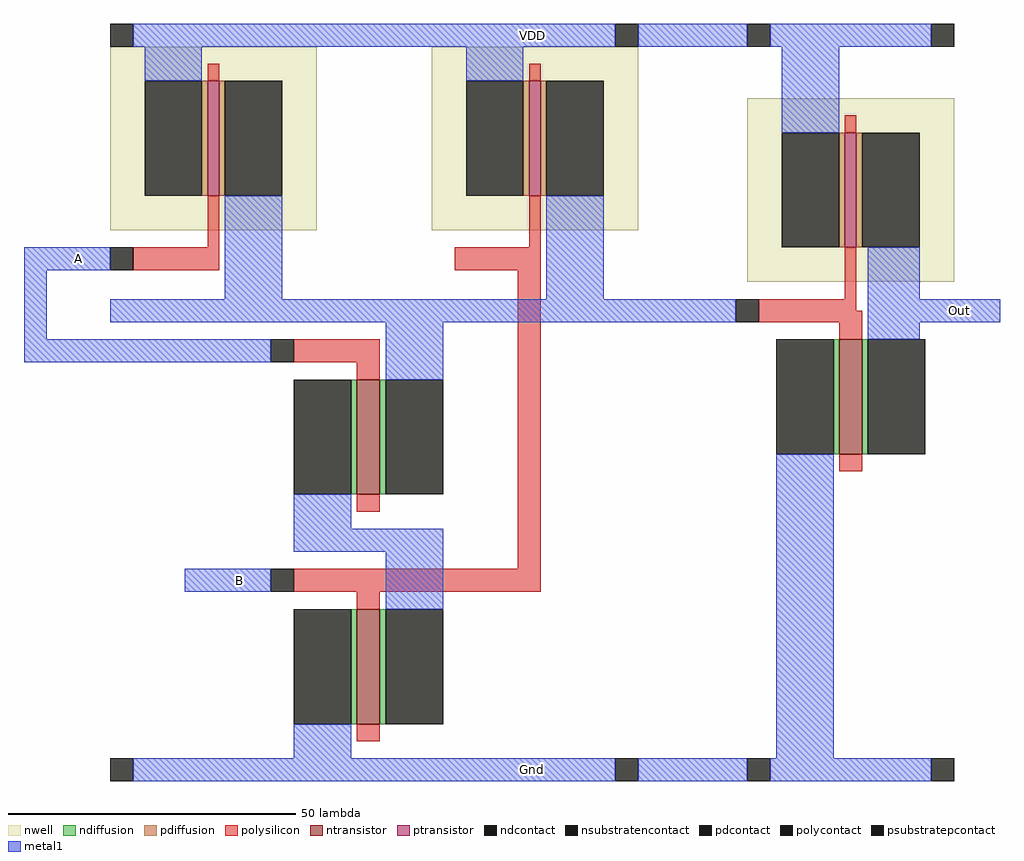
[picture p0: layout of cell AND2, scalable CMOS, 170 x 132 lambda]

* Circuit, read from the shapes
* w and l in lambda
.subckt AND2 A B Gnd Out VDD
M1 n1 B Gnd Gnd nfet w=20 l=4
M2 n2 A n1 Gnd nfet w=20 l=4
M3 Out n2 Gnd Gnd nfet w=20 l=4
M4 n2 A VDD n3 pfet w=20 l=2
M5 n2 B VDD n4 pfet w=20 l=2
M6 Out n2 VDD n5 pfet w=20 l=2
.ends

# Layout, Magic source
magic
tech scmos
<< nwell >>
rect 172 98 208 130
rect 228 98 264 130
rect 283 89 319 121
<< ntransistor >>
rect 215 52 219 72
rect 299 59 303 79
rect 215 12 219 32
<< ptransistor >>
rect 189 104 191 124
rect 245 104 247 124
rect 300 95 302 115
<< ndiffusion >>
rect 214 52 215 72
rect 219 52 220 72
rect 298 59 299 79
rect 303 59 304 79
rect 214 12 215 32
rect 219 12 220 32
<< pdiffusion >>
rect 188 104 189 124
rect 191 104 192 124
rect 244 104 245 124
rect 247 104 248 124
rect 299 95 300 115
rect 302 95 303 115
<< ndcontact >>
rect 204 52 214 72
rect 220 52 230 72
rect 288 59 298 79
rect 304 59 314 79
rect 204 12 214 32
rect 220 12 230 32
<< pdcontact >>
rect 178 104 188 124
rect 192 104 202 124
rect 234 104 244 124
rect 248 104 258 124
rect 289 95 299 115
rect 303 95 313 115
<< psubstratepcontact >>
rect 172 2 176 6
rect 260 2 264 6
rect 283 2 287 6
rect 315 2 319 6
<< nsubstratencontact >>
rect 172 130 176 134
rect 260 130 264 134
rect 283 130 287 134
rect 315 130 319 134
<< polysilicon >>
rect 189 124 191 127
rect 245 124 247 127
rect 300 115 302 118
rect 189 95 191 104
rect 245 95 247 104
rect 176 91 191 95
rect 232 91 247 95
rect 204 75 219 79
rect 215 72 219 75
rect 215 49 219 52
rect 243 39 247 91
rect 300 86 302 95
rect 285 84 302 86
rect 285 82 303 84
rect 299 79 303 82
rect 299 56 303 59
rect 204 35 247 39
rect 215 32 219 35
rect 215 9 219 12
<< polycontact >>
rect 172 91 176 95
rect 200 75 204 79
rect 281 82 285 86
rect 200 35 204 39
<< metal1 >>
rect 176 130 260 134
rect 264 130 283 134
rect 287 130 315 134
rect 178 124 188 130
rect 234 124 244 130
rect 157 91 172 95
rect 157 79 161 91
rect 192 86 202 104
rect 248 86 258 104
rect 289 115 299 130
rect 304 86 313 95
rect 172 82 281 86
rect 304 82 327 86
rect 157 75 200 79
rect 220 72 230 82
rect 304 79 313 82
rect 204 46 214 52
rect 204 42 230 46
rect 185 35 200 39
rect 220 32 230 42
rect 204 6 214 12
rect 288 6 298 59
rect 176 2 260 6
rect 264 2 283 6
rect 287 2 315 6
<< labels >>
rlabel metal1 157 91 176 95 1 A
rlabel metal1 185 35 204 39 1 B
rlabel metal1 313 82 327 86 1 Out
rlabel metal1 172 2 319 6 1 Gnd
rlabel metal1 172 130 319 134 5 VDD
<< end >>
